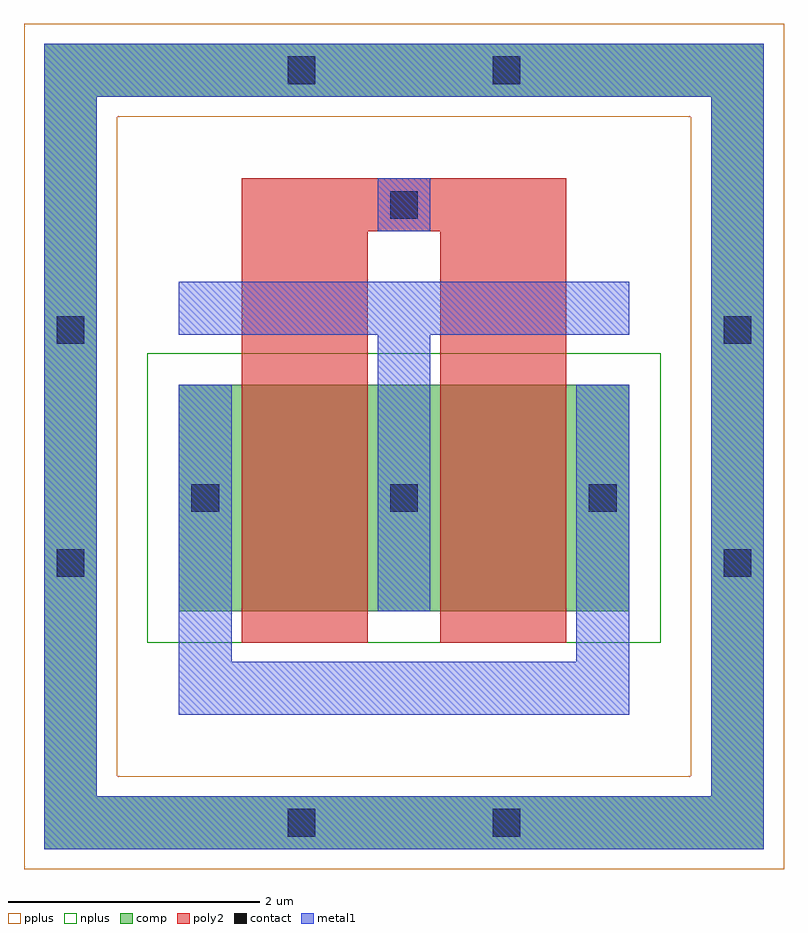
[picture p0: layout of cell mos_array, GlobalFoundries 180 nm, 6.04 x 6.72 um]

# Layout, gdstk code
import gdstk
lib = gdstk.Library(unit=1e-6, precision=5e-10)
def R(c, l, rs):  # rectangles x0, y0, x1, y1
    for r in rs: c.add(gdstk.rectangle(r[:2], r[2:], *l))
def A(c, l, x, y, w, h, nx, ny, dx, dy):  # array of equal rectangles
    R(c, l, [(x+i*dx, y+j*dy, x+i*dx+w, y+j*dy+h) for i in range(nx) for j in range(ny)])
def P(c, l, *ps):  # polygons
    for p in ps: c.add(gdstk.Polygon(p, *l))
comp = (22, 0)
poly2 = (30, 0)
pplus = (31, 0)
nplus = (32, 0)
contact = (33, 0)
metal1 = (34, 0)

mos_array = lib.new_cell('mos_array')
R(mos_array, comp, [(0,0.82,3.58,2.62)])
P(mos_array, comp, [(-1.07,-1.07),(-1.07,4.91),(-0.65,4.91),(-0.65,-0.65),(4.23,-0.65),(4.23,4.91),(-1.07,4.91),(-1.07,5.33),(4.65,5.33),(4.65,-1.07)])
R(mos_array, poly2, [(0.5,0.57,1.5,3.84), (2.08,0.57,3.08,3.84), (0.5,3.84,3.08,4.26)])
P(mos_array, pplus, [(-1.23,-1.23),(-1.23,4.75),(-0.49,4.75),(-0.49,-0.49),(4.07,-0.49),(4.07,4.75),(-1.23,4.75),(-1.23,5.49),(4.81,5.49),(4.81,-1.23)])
R(mos_array, nplus, [(-0.25,0.57,3.83,2.87)])
A(mos_array, contact, 0.1, 1.61, 0.22, 0.22, 3, 1, 1.58, 0)
R(mos_array, contact, [(0.865,-0.97,1.085,-0.75), (2.495,-0.97,2.715,-0.75), (-0.97,1.095,-0.75,1.315), (4.33,1.095,4.55,1.315), (-0.97,2.945,-0.75,3.165), (4.33,2.945,4.55,3.165), (1.68,3.94,1.9,4.16), (0.865,5.01,1.085,5.23), (2.495,5.01,2.715,5.23)])
A(mos_array, metal1, 0, 0.82, 0.42, 1.8, 3, 1, 1.58, 0)
R(mos_array, metal1, [(0,0,3.58,0.42), (0,0.42,0.42,0.82), (3.16,0.42,3.58,0.82), (1.58,2.62,2,3.02), (0,3.02,3.58,3.44), (1.58,3.84,2,4.26)])
P(mos_array, metal1, [(-1.07,-1.07),(-1.07,4.91),(-0.65,4.91),(-0.65,-0.65),(4.23,-0.65),(4.23,4.91),(-1.07,4.91),(-1.07,5.33),(4.65,5.33),(4.65,-1.07)])

lib.write_gds('mos_array.gds')
